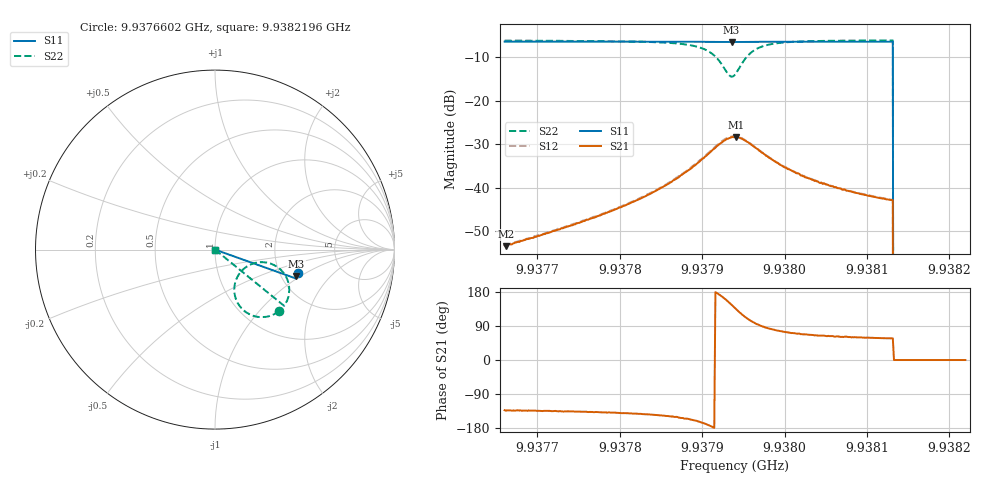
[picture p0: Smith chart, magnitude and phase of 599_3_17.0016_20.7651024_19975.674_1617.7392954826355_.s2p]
#  HZ  S  RI  R  50.00
! Rohde & Schwarz Vector Network Analyzer
! Rohde-Schwarz,ZNB20-2Port,1311601062101988,3.16
! Created: UTC 3/20/2024, 11:18:58 PM
! freq[Hz]  re:S11  im:S11  re:S21  im:S21  re:S12  im:S12  re:S22  im:S22
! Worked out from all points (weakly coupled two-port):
!   401 points, 9.9376602 GHz to 9.9382196 GHz, reference 50 ohm
!   highest |S21| = -28.36 dB at 9.9379413 GHz (marker M1); lowest = -53.5 dB at 9.9376616 GHz (marker M2)
!   lowest |S11| = -6.4 dB at 9.9379357 GHz (marker M3), VSWR 2.82, Z = 120 - j46 ohm
!   |S11| at or under -10 dB: 9.9381315 GHz to end of sweep
!   |S22| runs from - to -6.1 dB; largest |S21 - S12| = 0.0017
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9.93766019e9  0.4637 -0.1321  -0.00145 -0.00158  -0.00148 -0.00155  0.3562 -0.3432
9.93766159e9  0.4637 -0.1319  -0.00146 -0.00152  -0.0015 -0.00158  0.3559 -0.3434
9.93775389e9  0.4612 -0.1383  -0.00293 -0.00277  -0.00301 -0.00277  0.3383 -0.3552
9.93780424e9  0.4599 -0.1417  -0.00469 -0.00392  -0.00484 -0.00393  0.3201 -0.3643
9.93784759e9  0.4585 -0.145  -0.00794 -0.00539  -0.00815 -0.00536  0.29 -0.3733
9.93788255e9  0.4568 -0.1474  -0.0142 -0.00662  -0.0145 -0.00637  0.2365 -0.3746
9.93790353e9  0.4553 -0.1487  -0.0223 -0.00475  -0.0228 -0.00436  0.1742 -0.3498
9.93791472e9  0.4543 -0.1492  -0.028 -0.000498  -0.0288 0.000371  0.1316 -0.3061
9.93792311e9  0.4534 -0.149  -0.0321 0.00638  -0.0329 0.00733  0.1091 -0.246
9.9379315e9  0.4529 -0.1483  -0.0329 0.0162  -0.0333 0.0175  0.1187 -0.1656
9.93793569e9  0.4528 -0.1479  -0.0314 0.0214  -0.0312 0.0229  0.1417 -0.1263
9.93793989e9  0.4529 -0.1477  -0.0278 0.0261  -0.0275 0.0276  0.1765 -0.0951
9.93794129e9  0.4531 -0.1474  -0.0266 0.0275  -0.0259 0.0289  0.1897 -0.0874
9.93795527e9  0.4545 -0.1474  -0.0108 0.0317  -0.00976 0.0323  0.32 -0.082
9.93797066e9  0.4554 -0.1489  -0.000339 0.0261  0.000272 0.0262  0.3909 -0.1425
9.93799723e9  0.4556 -0.1516  0.00446 0.0173  0.00494 0.0172  0.4141 -0.2203
9.93803359e9  0.4549 -0.1546  0.00498 0.0112  0.00532 0.0113  0.407 -0.2692
9.93807275e9  0.4538 -0.1573  0.00456 0.00838  0.0047 0.00821  0.3968 -0.2941
9.93812729e9  0.4525 -0.1613  0.0039 0.0061  0.00404 0.00609  0.3861 -0.3122
9.93812869e9  0.4523 -0.1613  0.0039 0.00605  0.00403 0.00604  0.3858 -0.3126
9.93813568e9  0 0  0 0  0 0  0 0
9.93821959e9  0 0  0 0  0 0  0 0
